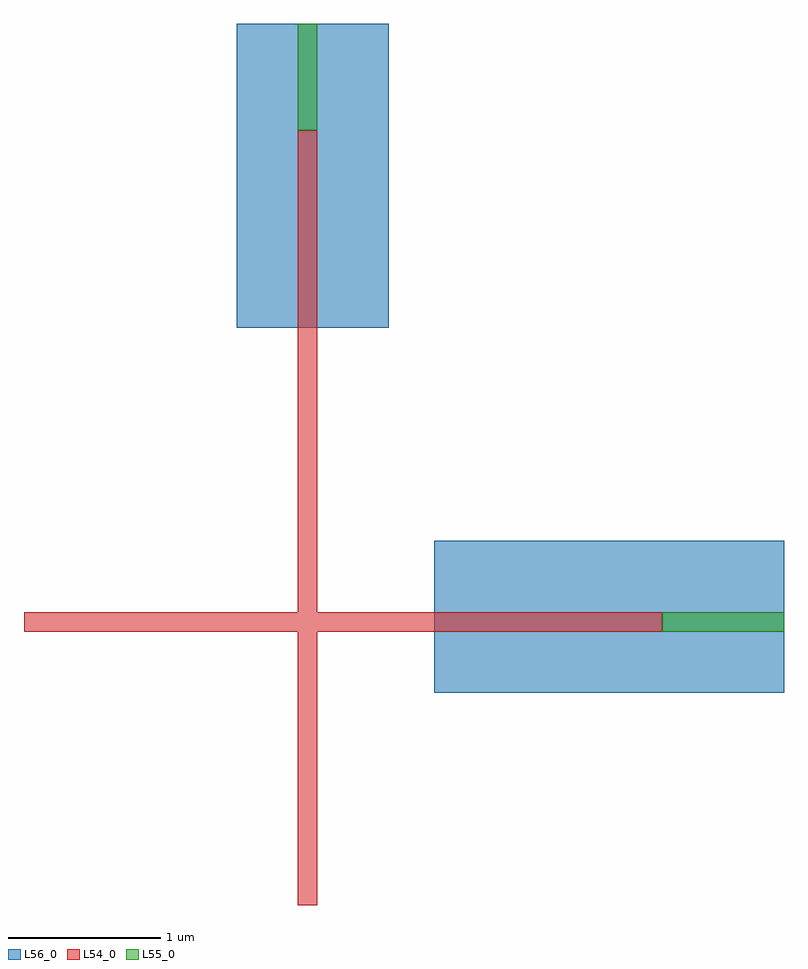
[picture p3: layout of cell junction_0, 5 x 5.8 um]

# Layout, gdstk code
import gdstk
lib = gdstk.Library(unit=1e-6, precision=1e-09)
def R(c, l, rs):  # rectangles x0, y0, x1, y1
    for r in rs: c.add(gdstk.rectangle(r[:2], r[2:], *l))
L54_0 = (54, 0)
L55_0 = (55, 0)
L56_0 = (56, 0)

junction_0 = lib.new_cell('junction_0')
R(junction_0, L54_0, [(-1.2,-2.8,-1.072,2.3), (-3,-1,1.2,-0.872)])
R(junction_0, L55_0, [(1.2,-1,2,-0.872), (-1.2,2.3,-1.072,3)])
R(junction_0, L56_0, [(-0.3,-1.4,2,-0.4), (-1.6,1,-0.6,3)])

lib.write_gds('junction_0.gds')
